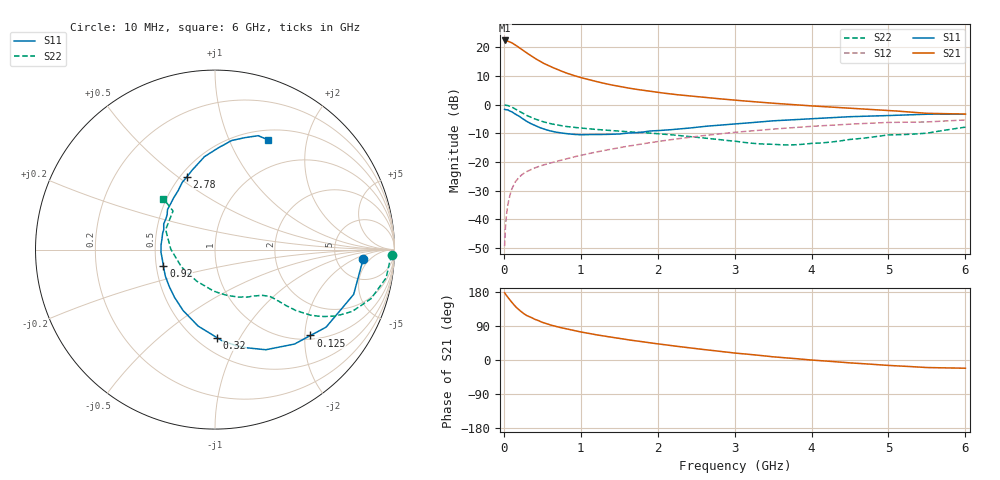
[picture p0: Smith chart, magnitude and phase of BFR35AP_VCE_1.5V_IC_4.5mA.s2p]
! Infineon Technologies  Discrete & RF Semiconductors
! BFR35AP
! VCE =  1.5 V,  IC =  4.5 mA
! Common Emitter S-Parameters:  Nov 2015
# GHz  S  MA  R  50
!  f  S11  S21  S12  S22
! GHz  MAG  ANG  MAG  ANG  MAG  ANG  MAG  ANG
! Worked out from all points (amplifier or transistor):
!   210 points, 10 MHz to 6 GHz, reference 50 ohm
!   highest |S21| = 22.4 dB at 10 MHz (marker M1)
!   |S21| within 3 dB of that: start of sweep to 226.3 MHz
!   unconditionally stable (mu >= 1): 777.6 MHz to 4.425 GHz; 5.051 GHz to end of sweep
!   at 185 MHz: K = 0.36, MSG = 22.9 dB, |S12| = -25.7 dB
!   at 1.52 GHz: K = 1.16, MAG = 8.2 dB, |S12| = -14.9 dB
!   at 6 GHz: K = 1.01, MAG = 0.5 dB, |S12| = -5.4 dB
!   S11 on the Smith chart (normalised r, x): 10 MHz: 10, -3; 125 MHz: 1.09, -2.13; 320 MHz: 0.62, -0.81; 920 MHz: 0.55, -0.11; 2.78 GHz: 0.54, +0.54; 6 GHz: 0.62, +1.40
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0.01  0.8274 -3.6  13.13 177.4  0.0034 89.1  0.9894 -1.8
0.025  0.8154 -9.1  12.96 172.8  0.0086 85.7  0.9742 -4.6
0.05  0.8119 -17.9  12.8 165.9  0.0172 80.4  0.9667 -9.3
0.1  0.7549 -34.9  12.07 153.0  0.0328 71.9  0.9109 -17.5
0.125  0.7152 -42.0  11.44 147.2  0.0389 67.9  0.873 -20.8
0.15  0.6879 -49.9  10.94 140.9  0.0451 65.0  0.8382 -24.3
0.2  0.6256 -63.1  9.851 131.7  0.0545 60.7  0.7682 -28.8
0.26  0.5504 -77.1  8.641 122.3  0.0633 56.4  0.6893 -32.6
0.3  0.508 -85.8  7.909 117.0  0.0681 55.0  0.645 -34.5
0.32  0.4907 -88.7  7.602 115.4  0.0702 54.5  0.6288 -34.9
0.4  0.4364 -102.4  6.448 107.6  0.0785 52.6  0.5642 -37.0
0.52  0.375 -119.9  5.22 98.2  0.089 51.7  0.4987 -38.3
0.7  0.3273 -141.3  4.069 87.3  0.1037 52.0  0.4391 -39.4
0.92  0.3019 -162.0  3.182 77.3  0.1233 52.7  0.4 -40.7
1.02  0.2985 -171.2  2.911 73.3  0.1318 52.8  0.3881 -41.7
1.4  0.3053 163.2  2.198 60.1  0.1673 52.9  0.353 -46.6
2.02  0.353 135.3  1.622 42.1  0.2289 49.4  0.3085 -58.8
2.78  0.4355 111.0  1.271 23.5  0.3061 42.2  0.247 -82.6
3.1  0.4705 104.1  1.165 16.6  0.337 38.2  0.2211 -97.2
4.1  0.5761 86.7  0.931 -1.5  0.4252 25.5  0.2134 -159.1
5.1  0.6505 74.0  0.773 -15.3  0.49 11.7  0.2976 153.6
6  0.6787 64.4  0.684 -21.7  0.5398 1.8  0.4042 135.4
